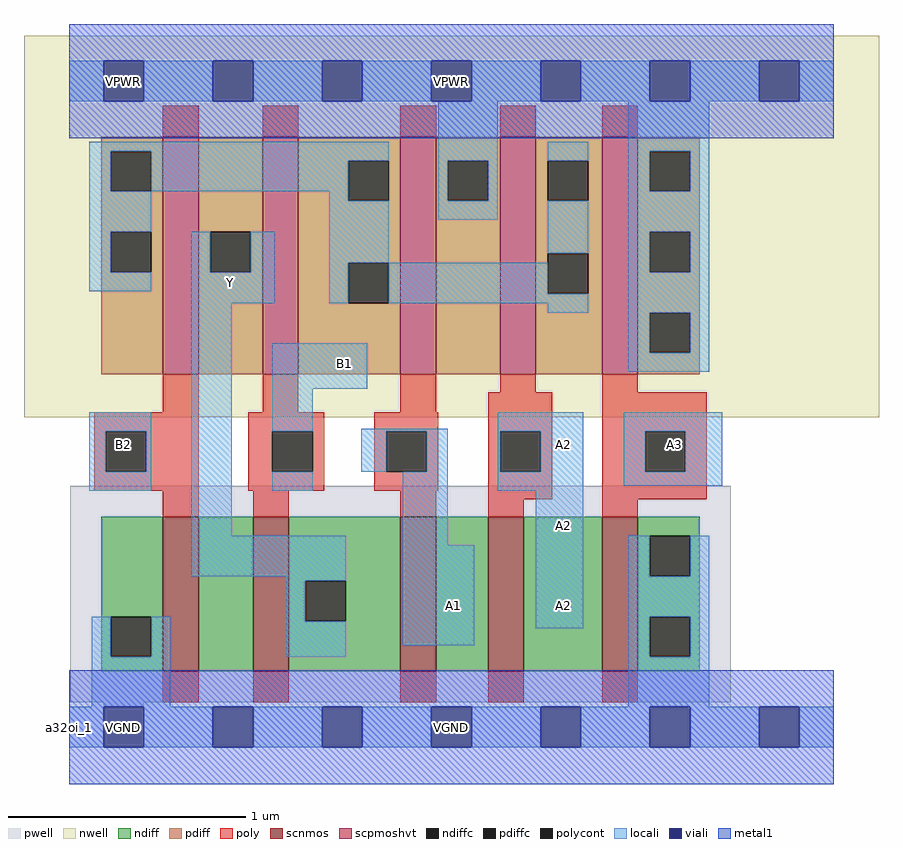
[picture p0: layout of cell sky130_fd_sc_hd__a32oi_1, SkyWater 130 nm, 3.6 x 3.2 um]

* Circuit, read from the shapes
.subckt sky130_fd_sc_hd__a32oi_1 A1 A2 A3 B1 B2 VGND VNB VPB VPWR Y
XM1 n1 B2 VGND VNB sky130_fd_pr__nfet_01v8 w=0.65 l=0.15
XM2 Y B1 n1 VNB sky130_fd_pr__nfet_01v8 w=0.65 l=0.15
XM3 n2 A1 Y VNB sky130_fd_pr__nfet_01v8 w=0.65 l=0.15
XM4 n3 A2 n2 VNB sky130_fd_pr__nfet_01v8 w=0.65 l=0.15
XM5 VGND A3 n3 VNB sky130_fd_pr__nfet_01v8 w=0.65 l=0.15
XM6 Y B2 n4 VPB sky130_fd_pr__pfet_01v8_hvt w=1 l=0.15
XM7 n4 B1 Y VPB sky130_fd_pr__pfet_01v8_hvt w=1 l=0.15
XM8 VPWR A1 n4 VPB sky130_fd_pr__pfet_01v8_hvt w=1 l=0.15
XM9 n4 A2 VPWR VPB sky130_fd_pr__pfet_01v8_hvt w=1 l=0.15
XM10 VPWR A3 n4 VPB sky130_fd_pr__pfet_01v8_hvt w=1 l=0.15
.ends

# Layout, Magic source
magic
tech sky130A
magscale 1 2
<< nwell >>
rect -38 261 682 582
<< pwell >>
rect 1 21 557 203
rect 29 -17 63 21
<< scnmos >>
rect 79 47 109 177
rect 155 47 185 177
rect 279 47 309 177
rect 353 47 383 177
rect 449 47 479 177
<< scpmoshvt >>
rect 79 297 109 497
rect 163 297 193 497
rect 279 297 309 497
rect 363 297 393 497
rect 449 297 479 497
<< ndiff >>
rect 27 93 79 177
rect 27 59 35 93
rect 69 59 79 93
rect 27 47 79 59
rect 109 47 155 177
rect 185 123 279 177
rect 185 89 199 123
rect 233 89 279 123
rect 185 47 279 89
rect 309 47 353 177
rect 383 47 449 177
rect 479 161 531 177
rect 479 127 489 161
rect 523 127 531 161
rect 479 93 531 127
rect 479 59 489 93
rect 523 59 531 93
rect 479 47 531 59
<< pdiff >>
rect 27 485 79 497
rect 27 451 35 485
rect 69 451 79 485
rect 27 417 79 451
rect 27 383 35 417
rect 69 383 79 417
rect 27 297 79 383
rect 109 417 163 497
rect 109 383 119 417
rect 153 383 163 417
rect 109 297 163 383
rect 193 477 279 497
rect 193 443 235 477
rect 269 443 279 477
rect 193 391 279 443
rect 193 357 235 391
rect 269 357 279 391
rect 193 297 279 357
rect 309 477 363 497
rect 309 443 319 477
rect 353 443 363 477
rect 309 297 363 443
rect 393 477 449 497
rect 393 443 403 477
rect 437 443 449 477
rect 393 399 449 443
rect 393 365 403 399
rect 437 365 449 399
rect 393 297 449 365
rect 479 485 531 497
rect 479 451 489 485
rect 523 451 531 485
rect 479 417 531 451
rect 479 383 489 417
rect 523 383 531 417
rect 479 349 531 383
rect 479 315 489 349
rect 523 315 531 349
rect 479 297 531 315
<< ndiffc >>
rect 35 59 69 93
rect 199 89 233 123
rect 489 127 523 161
rect 489 59 523 93
<< pdiffc >>
rect 35 451 69 485
rect 35 383 69 417
rect 119 383 153 417
rect 235 443 269 477
rect 235 357 269 391
rect 319 443 353 477
rect 403 443 437 477
rect 403 365 437 399
rect 489 451 523 485
rect 489 383 523 417
rect 489 315 523 349
<< poly >>
rect 79 497 109 523
rect 163 497 193 523
rect 279 497 309 523
rect 363 497 393 523
rect 449 497 479 523
rect 79 265 109 297
rect 163 265 193 297
rect 279 265 309 297
rect 363 282 393 297
rect 449 282 479 297
rect 21 249 109 265
rect 21 215 31 249
rect 65 215 109 249
rect 21 199 109 215
rect 151 249 215 265
rect 151 215 171 249
rect 205 215 215 249
rect 151 199 215 215
rect 257 249 311 265
rect 257 215 267 249
rect 301 215 311 249
rect 257 199 311 215
rect 353 249 407 282
rect 353 215 363 249
rect 397 215 407 249
rect 79 177 109 199
rect 155 177 185 199
rect 279 177 309 199
rect 353 192 407 215
rect 449 249 537 282
rect 449 215 485 249
rect 519 215 537 249
rect 449 192 537 215
rect 353 177 383 192
rect 449 177 479 192
rect 79 21 109 47
rect 155 21 185 47
rect 279 21 309 47
rect 353 21 383 47
rect 449 21 479 47
<< polycont >>
rect 31 215 65 249
rect 171 215 205 249
rect 267 215 301 249
rect 363 215 397 249
rect 485 215 519 249
<< locali >>
rect 0 527 29 561
rect 63 527 121 561
rect 155 527 213 561
rect 247 527 305 561
rect 339 527 397 561
rect 431 527 489 561
rect 523 527 581 561
rect 615 527 644 561
rect 17 485 269 493
rect 17 451 35 485
rect 69 477 269 485
rect 69 451 235 477
rect 17 417 69 451
rect 219 443 235 451
rect 17 383 35 417
rect 17 367 69 383
rect 103 383 119 417
rect 153 383 173 417
rect 103 357 173 383
rect 219 391 269 443
rect 311 477 361 527
rect 311 443 319 477
rect 353 443 361 477
rect 311 427 361 443
rect 403 477 437 493
rect 403 399 437 443
rect 219 357 235 391
rect 269 365 403 391
rect 269 357 437 365
rect 17 249 69 265
rect 17 215 31 249
rect 65 215 69 249
rect 17 199 69 215
rect 103 161 137 357
rect 403 349 437 357
rect 471 485 539 527
rect 471 451 489 485
rect 523 451 539 485
rect 471 417 539 451
rect 471 383 489 417
rect 523 383 539 417
rect 471 349 539 383
rect 171 285 251 323
rect 471 315 489 349
rect 523 315 539 349
rect 471 299 539 315
rect 171 249 205 285
rect 246 249 319 251
rect 246 215 267 249
rect 301 215 319 249
rect 171 199 205 215
rect 103 127 233 161
rect 183 123 233 127
rect 19 59 35 93
rect 69 59 85 93
rect 183 89 199 123
rect 183 59 233 89
rect 281 153 319 215
rect 361 249 433 265
rect 361 215 363 249
rect 397 215 433 249
rect 361 199 433 215
rect 467 249 550 265
rect 467 215 485 249
rect 519 215 550 249
rect 467 203 550 215
rect 281 69 341 153
rect 393 83 433 199
rect 471 127 489 161
rect 523 127 539 161
rect 471 93 539 127
rect 471 59 489 93
rect 523 59 539 93
rect 19 17 85 59
rect 471 17 539 59
rect 0 -17 29 17
rect 63 -17 121 17
rect 155 -17 213 17
rect 247 -17 305 17
rect 339 -17 397 17
rect 431 -17 489 17
rect 523 -17 581 17
rect 615 -17 644 17
<< viali >>
rect 29 527 63 561
rect 121 527 155 561
rect 213 527 247 561
rect 305 527 339 561
rect 397 527 431 561
rect 489 527 523 561
rect 581 527 615 561
rect 29 -17 63 17
rect 121 -17 155 17
rect 213 -17 247 17
rect 305 -17 339 17
rect 397 -17 431 17
rect 489 -17 523 17
rect 581 -17 615 17
<< metal1 >>
rect 0 561 644 592
rect 0 527 29 561
rect 63 527 121 561
rect 155 527 213 561
rect 247 527 305 561
rect 339 527 397 561
rect 431 527 489 561
rect 523 527 581 561
rect 615 527 644 561
rect 0 496 644 527
rect 0 17 644 48
rect 0 -17 29 17
rect 63 -17 121 17
rect 155 -17 213 17
rect 247 -17 305 17
rect 339 -17 397 17
rect 431 -17 489 17
rect 523 -17 581 17
rect 615 -17 644 17
rect 0 -48 644 -17
<< labels >>
flabel locali s 399 85 433 119 0 FreeSans 200 0 0 0 A2
port 2 nsew signal input
flabel locali s 119 357 153 391 0 FreeSans 200 0 0 0 Y
port 10 nsew signal output
flabel locali s 307 85 341 119 0 FreeSans 200 0 0 0 A1
port 1 nsew signal input
flabel locali s 29 221 63 255 0 FreeSans 200 0 0 0 B2
port 5 nsew signal input
flabel locali s 215 289 249 323 0 FreeSans 200 0 0 0 B1
port 4 nsew signal input
flabel locali s 399 153 433 187 0 FreeSans 200 0 0 0 A2
port 2 nsew signal input
flabel locali s 399 221 433 255 0 FreeSans 200 0 0 0 A2
port 2 nsew signal input
flabel locali s 493 221 527 255 0 FreeSans 200 0 0 0 A3
port 3 nsew signal input
flabel metal1 s 29 -17 63 17 0 FreeSans 200 0 0 0 VGND
port 6 nsew ground bidirectional abutment
flabel metal1 s 29 527 63 561 0 FreeSans 200 0 0 0 VPWR
port 9 nsew power bidirectional abutment
flabel nwell s 29 527 63 561 0 FreeSans 200 0 0 0 VPB
port 8 nsew power bidirectional
flabel pwell s 29 -17 63 17 0 FreeSans 200 0 0 0 VNB
port 7 nsew ground bidirectional
rlabel comment s 0 0 0 0 4 a32oi_1
rlabel metal1 s 0 -48 644 48 1 VGND
port 6 nsew ground bidirectional abutment
rlabel metal1 s 0 496 644 592 1 VPWR
port 9 nsew power bidirectional abutment
<< properties >>
string FIXED_BBOX 0 0 644 544
string GDS_END 3473666
string GDS_FILE $PDKPATH/libs.ref/sky130_fd_sc_hd/gds/sky130_fd_sc_hd.gds
string GDS_START 3467700
string LEFclass CORE
string LEFsite unithd
string LEFsymmetry X Y R90
string path 0.000 0.000 16.100 0.000 
<< end >>
